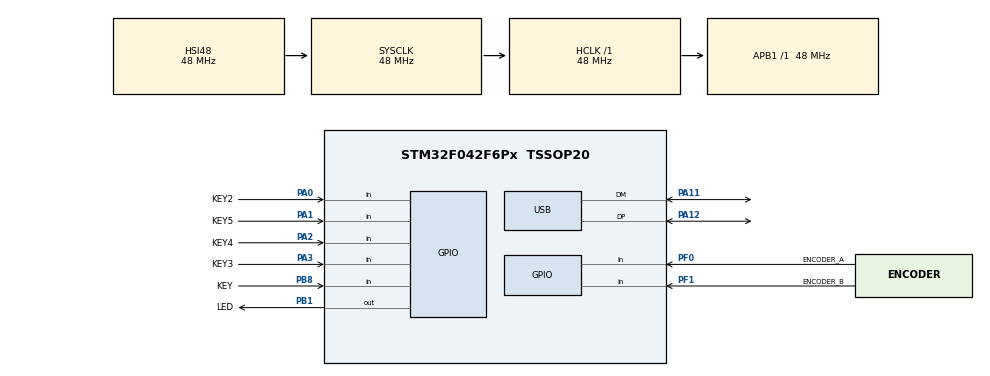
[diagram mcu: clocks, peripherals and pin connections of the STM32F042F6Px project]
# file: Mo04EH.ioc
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Mcu.Family=STM32F0
Mcu.Name=STM32F042F6Px
Mcu.Package=TSSOP20
NVIC.USB_IRQn=true\:0\:0\:false\:false\:true
PA0.GPIO_Label=KEY2
PA0.GPIO_PuPd=GPIO_PULLUP
PA0.Signal=GPIO_Input
PA1.GPIO_Label=KEY5
PA1.GPIO_PuPd=GPIO_PULLUP
PA1.Signal=GPIO_Input
PA11.Mode=Device
PA11.Signal=USB_DM
PA12.Mode=Device
PA12.Signal=USB_DP
PA13.Mode=Serial_Wire
PA13.Signal=SYS_SWDIO
PA14.Mode=Serial_Wire
PA14.Signal=SYS_SWCLK
PA2.GPIO_Label=KEY4
PA2.GPIO_PuPd=GPIO_PULLUP
PA2.Signal=GPIO_Input
PA3.GPIO_Label=KEY3
PA3.GPIO_PuPd=GPIO_PULLUP
PA3.Signal=GPIO_Input
PB1.GPIO_Label=LED
PB1.Signal=GPIO_Output
PB8.GPIO_Label=KEY
PB8.GPIO_PuPd=GPIO_PULLUP
PB8.Signal=GPIO_Input
PF0-OSC_IN.GPIO_Label=ENCODER_A
PF0-OSC_IN.GPIO_PuPd=GPIO_PULLUP
PF0-OSC_IN.Signal=GPIO_Input
PF1-OSC_OUT.GPIO_Label=ENCODER_B
PF1-OSC_OUT.GPIO_PuPd=GPIO_PULLUP
PF1-OSC_OUT.Signal=GPIO_Input
ProjectManager.HeapSize=0x200
ProjectManager.StackSize=0x400
ProjectManager.TargetToolchain=MDK-ARM V5
RCC.AHBFreq_Value=48000000
RCC.APB1Freq_Value=48000000
RCC.APB1TimFreq_Value=48000000
RCC.HCLKFreq_Value=48000000
RCC.SYSCLKFreq_VALUE=48000000
RCC.SYSCLKSource=RCC_SYSCLKSOURCE_HSI48
USB_DEVICE.CLASS_NAME_FS=HID
USB_DEVICE.PID_HID_FS=22316
USB_DEVICE.PRODUCT_STRING_HID_FS=MoZhang Media
USB_DEVICE.VirtualMode=Hid
USB_DEVICE.VirtualModeFS=Hid_FS
VP_SYS_VS_PINREMAP.Mode=PINREMAP
VP_USB_DEVICE_VS_USB_DEVICE_HID_FS.Mode=HID_FS
board=MO04EH

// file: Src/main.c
/**
  ******************************************************************************
  * File Name          : main.c
  * Description        : Main program body
  ******************************************************************************
  * This notice applies to any and all portions of this file
  * that are not between comment pairs USER CODE BEGIN and
  * USER CODE END. Other portions of this file, whether
  * inserted by the user or by software development tools
  * are owned by their respective copyright owners.
  *
  * Copyright (c) 2017 STMicroelectronics International N.V.
  * All rights reserved.
  *
  * Redistribution and use in source and binary forms, with or without
  * modification, are permitted, provided that the following conditions are met:
  *
  * 1. Redistribution of source code must retain the above copyright notice,
  *    this list of conditions and the following disclaimer.
  * 2. Redistributions in binary form must reproduce the above copyright notice,
  *    this list of conditions and the following disclaimer in the documentation
  *    and/or other materials provided with the distribution.
  * 3. Neither the name of STMicroelectronics nor the names of other
  *    contributors to this software may be used to endorse or promote products
  *    derived from this software without specific written permission.
  * 4. This software, including modifications and/or derivative works of this
  *    software, must execute solely and exclusively on microcontroller or
  *    microprocessor devices manufactured by or for STMicroelectronics.
  * 5. Redistribution and use of this software other than as permitted under
  *    this license is void and will automatically terminate your rights under
  *    this license.
  *
  * THIS SOFTWARE IS PROVIDED BY STMICROELECTRONICS AND CONTRIBUTORS "AS IS"
  * AND ANY EXPRESS, IMPLIED OR STATUTORY WARRANTIES, INCLUDING, BUT NOT
  * LIMITED TO, THE IMPLIED WARRANTIES OF MERCHANTABILITY, FITNESS FOR A
  * PARTICULAR PURPOSE AND NON-INFRINGEMENT OF THIRD PARTY INTELLECTUAL PROPERTY
  * RIGHTS ARE DISCLAIMED TO THE FULLEST EXTENT PERMITTED BY LAW. IN NO EVENT
  * SHALL STMICROELECTRONICS OR CONTRIBUTORS BE LIABLE FOR ANY DIRECT, INDIRECT,
  * INCIDENTAL, SPECIAL, EXEMPLARY, OR CONSEQUENTIAL DAMAGES (INCLUDING, BUT NOT
  * LIMITED TO, PROCUREMENT OF SUBSTITUTE GOODS OR SERVICES; LOSS OF USE, DATA,
  * OR PROFITS; OR BUSINESS INTERRUPTION) HOWEVER CAUSED AND ON ANY THEORY OF
  * LIABILITY, WHETHER IN CONTRACT, STRICT LIABILITY, OR TORT (INCLUDING
  * NEGLIGENCE OR OTHERWISE) ARISING IN ANY WAY OUT OF THE USE OF THIS SOFTWARE,
  * EVEN IF ADVISED OF THE POSSIBILITY OF SUCH DAMAGE.
  *
  ******************************************************************************
  */
#include "main.h"
#include "stm32f0xx_hal.h"
#include "usb_device.h"

/* USER CODE BEGIN Includes */
#include "usbd_hid.h"
/* USER CODE END Includes */

/* USER CODE BEGIN PV */
/* Private variables ---------------------------------------------------------*/

/* USER CODE END PV */

void SystemClock_Config(void);
static void MX_GPIO_Init(void);

/* USER CODE BEGIN PFP */
/* Private function prototypes -----------------------------------------------*/

/* USER CODE END PFP */

/* USER CODE BEGIN 0 */
static uint8_t KeyState[5] = {0,0,0,0,0};
static uint8_t KeyFunction[5] = {8,4,32,16,4};

void print2hid(uint8_t dat)
{
	uint8_t buffer[3] = { 0x05, 0x00, 0x00};
	buffer[1] = dat;
	USBD_HID_SendReport(&hUsbDeviceFS, buffer, 3); //send
	HAL_Delay(15);
	buffer[1] = 0x00;
	USBD_HID_SendReport(&hUsbDeviceFS, buffer, 3);
}

void keyscan (void)
{
	if(HAL_GPIO_ReadPin(KEY_GPIO_Port,KEY_Pin) == 0)
	{
		HAL_Delay(5);
		if(HAL_GPIO_ReadPin(KEY_GPIO_Port,KEY_Pin) == 0)
		{
			switch (KeyState[0])
			{
				case 0 :
					KeyState[0] = 1;
					break;
				case 1 :
					KeyState[0] = 2;
					break;
			}
		}
	}
	else
	{
		KeyState[0] = 0;
	}

	if(HAL_GPIO_ReadPin(KEY2_GPIO_Port,KEY2_Pin) == 0)
	{
		HAL_Delay(5);
		if(HAL_GPIO_ReadPin(KEY2_GPIO_Port,KEY2_Pin) == 0)
		{
			switch (KeyState[1])
			{
				case 0 :
					KeyState[1] = 1;
					break;
				case 1 :
					KeyState[1] = 2;
					break;
			}
		}
	}
	else
	{
		KeyState[1] = 0;
	}

	if(HAL_GPIO_ReadPin(KEY3_GPIO_Port,KEY3_Pin) == 0)
	{
		HAL_Delay(5);
		if(HAL_GPIO_ReadPin(KEY3_GPIO_Port,KEY3_Pin) == 0)
		{
			switch (KeyState[2])
			{
				case 0 :
					KeyState[2] = 1;
					break;
				case 1 :
					KeyState[2] = 2;
					break;
			}
		}
	}
	else
	{
		KeyState[2] = 0;
	}

	if(HAL_GPIO_ReadPin(KEY4_GPIO_Port,KEY4_Pin) == 0)
	{
		HAL_Delay(5);
		if(HAL_GPIO_ReadPin(KEY4_GPIO_Port,KEY4_Pin) == 0)
		{
			switch (KeyState[3])
			{
				case 0 :
					KeyState[3] = 1;
					break;
				case 1 :
					KeyState[3] = 2;
					break;
			}
		}
	}
	else
	{
		KeyState[3] = 0;
	}

	if(HAL_GPIO_ReadPin(KEY5_GPIO_Port,KEY5_Pin) == 0)
	{
		HAL_Delay(5);
		if(HAL_GPIO_ReadPin(KEY5_GPIO_Port,KEY5_Pin) == 0)
		{
			switch (KeyState[4])
			{
				case 0 :
					KeyState[4] = 1;
					break;
				case 1 :
					KeyState[4] = 2;
					break;
			}
		}
	}
	else
	{
		KeyState[4] = 0;
	}

}

void key2hid (void)
{
	for(int i = 0; i<5; i++)
	{
		if (KeyState[i] == 1)
		{
			print2hid(KeyFunction[i]);
		}
	}

}
/* USER CODE END 0 */

int main(void)
{

  /* USER CODE BEGIN 1 */
	static uint8_t PinALast;
	static uint8_t PinANow;
	static uint8_t PinBNow;

  /* USER CODE END 1 */

  /* MCU Configuration----------------------------------------------------------*/

  /* Reset of all peripherals, Initializes the Flash interface and the Systick. */
  HAL_Init();

  /* Configure the system clock */
  SystemClock_Config();

  /* Initialize all configured peripherals */
  MX_GPIO_Init();
  MX_USB_DEVICE_Init();

  /* Infinite loop */
  while (1)
  {

  /* USER CODE BEGIN 3 */

		PinANow = HAL_GPIO_ReadPin(ENCODER_A_GPIO_Port, ENCODER_A_Pin);
		PinBNow = HAL_GPIO_ReadPin(ENCODER_B_GPIO_Port, ENCODER_B_Pin);
		if (PinALast ^ PinANow) // if PIN_A change
		{
			if (PinANow ^ PinBNow) // if PIN_A xor PIN_B == 1
			{
				print2hid(0x02);

			}
			else // if PIN_A xor PIN_B == 0
			{
				print2hid(0x01);

			}
		}
		PinALast = PinANow;

		keyscan ();
		key2hid ();

  }
  /* USER CODE END 3 */

}

/** System Clock Configuration
*/
void SystemClock_Config(void)
{

  RCC_OscInitTypeDef RCC_OscInitStruct;
  RCC_ClkInitTypeDef RCC_ClkInitStruct;
  RCC_PeriphCLKInitTypeDef PeriphClkInit;

    /**Initializes the CPU, AHB and APB busses clocks
    */
  RCC_OscInitStruct.OscillatorType = RCC_OSCILLATORTYPE_HSI48;
  RCC_OscInitStruct.HSI48State = RCC_HSI48_ON;
  RCC_OscInitStruct.PLL.PLLState = RCC_PLL_NONE;
  if (HAL_RCC_OscConfig(&RCC_OscInitStruct) != HAL_OK)
  {
    _Error_Handler(__FILE__, __LINE__);
  }

    /**Initializes the CPU, AHB and APB busses clocks
    */
  RCC_ClkInitStruct.ClockType = RCC_CLOCKTYPE_HCLK|RCC_CLOCKTYPE_SYSCLK
                              |RCC_CLOCKTYPE_PCLK1;
  RCC_ClkInitStruct.SYSCLKSource = RCC_SYSCLKSOURCE_HSI48;
  RCC_ClkInitStruct.AHBCLKDivider = RCC_SYSCLK_DIV1;
  RCC_ClkInitStruct.APB1CLKDivider = RCC_HCLK_DIV1;

  if (HAL_RCC_ClockConfig(&RCC_ClkInitStruct, FLASH_LATENCY_1) != HAL_OK)
  {
    _Error_Handler(__FILE__, __LINE__);
  }

  PeriphClkInit.PeriphClockSelection = RCC_PERIPHCLK_USB;
  PeriphClkInit.UsbClockSelection = RCC_USBCLKSOURCE_HSI48;

  if (HAL_RCCEx_PeriphCLKConfig(&PeriphClkInit) != HAL_OK)
  {
    _Error_Handler(__FILE__, __LINE__);
  }

    /**Configure the Systick interrupt time
    */
  HAL_SYSTICK_Config(HAL_RCC_GetHCLKFreq()/1000);

    /**Configure the Systick
    */
  HAL_SYSTICK_CLKSourceConfig(SYSTICK_CLKSOURCE_HCLK);

  /* SysTick_IRQn interrupt configuration */
  HAL_NVIC_SetPriority(SysTick_IRQn, 0, 0);
}

/** Configure pins as
        * Analog
        * Input
        * Output
        * EVENT_OUT
        * EXTI
*/
static void MX_GPIO_Init(void)
{

  GPIO_InitTypeDef GPIO_InitStruct;

  /* GPIO Ports Clock Enable */
  __HAL_RCC_GPIOB_CLK_ENABLE();
  __HAL_RCC_GPIOF_CLK_ENABLE();
  __HAL_RCC_GPIOA_CLK_ENABLE();

  /*Configure GPIO pin Output Level */
  HAL_GPIO_WritePin(LED_GPIO_Port, LED_Pin, GPIO_PIN_RESET);

  /*Configure GPIO pin : KEY_Pin */
  GPIO_InitStruct.Pin = KEY_Pin;
  GPIO_InitStruct.Mode = GPIO_MODE_INPUT;
  GPIO_InitStruct.Pull = GPIO_PULLUP;
  HAL_GPIO_Init(KEY_GPIO_Port, &GPIO_InitStruct);

  /*Configure GPIO pins : ENCODER_A_Pin ENCODER_B_Pin */
  GPIO_InitStruct.Pin = ENCODER_A_Pin|ENCODER_B_Pin;
  GPIO_InitStruct.Mode = GPIO_MODE_INPUT;
  GPIO_InitStruct.Pull = GPIO_PULLUP;
  HAL_GPIO_Init(GPIOF, &GPIO_InitStruct);

  /*Configure GPIO pins : KEY2_Pin KEY5_Pin KEY4_Pin KEY3_Pin */
  GPIO_InitStruct.Pin = KEY2_Pin|KEY5_Pin|KEY4_Pin|KEY3_Pin;
  GPIO_InitStruct.Mode = GPIO_MODE_INPUT;
  GPIO_InitStruct.Pull = GPIO_PULLUP;
  HAL_GPIO_Init(GPIOA, &GPIO_InitStruct);

  /*Configure GPIO pin : LED_Pin */
  GPIO_InitStruct.Pin = LED_Pin;
  GPIO_InitStruct.Mode = GPIO_MODE_OUTPUT_PP;
  GPIO_InitStruct.Pull = GPIO_NOPULL;
  GPIO_InitStruct.Speed = GPIO_SPEED_FREQ_LOW;
  HAL_GPIO_Init(LED_GPIO_Port, &GPIO_InitStruct);

}

void _Error_Handler(char * file, int line)
{
  while(1)
  {
  }
}

/************************ (C) COPYRIGHT STMicroelectronics *****END OF FILE****/
